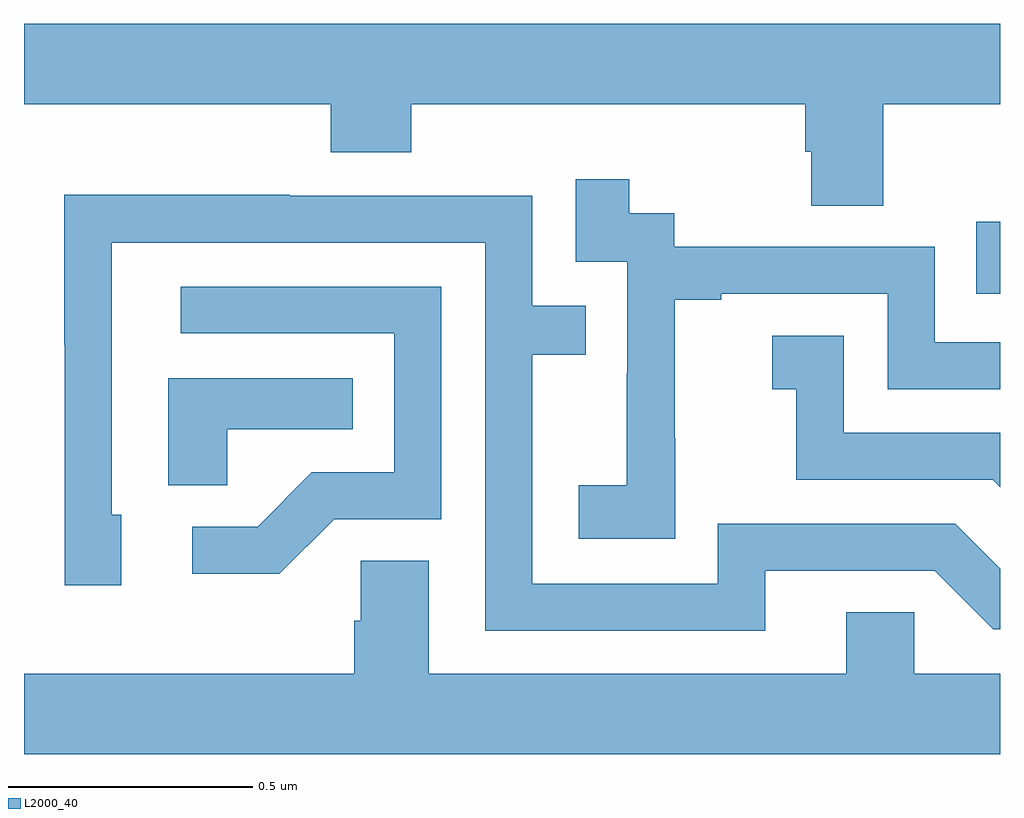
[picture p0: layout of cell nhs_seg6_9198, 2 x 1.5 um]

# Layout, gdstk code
import gdstk
lib = gdstk.Library(unit=1e-6, precision=1e-09)
def R(c, l, rs):  # rectangles x0, y0, x1, y1
    for r in rs: c.add(gdstk.rectangle(r[:2], r[2:], *l))
def P(c, l, *ps):  # polygons
    for p in ps: c.add(gdstk.Polygon(p, *l))
L2000_40 = (2000, 40)

nhs_seg6_9198 = lib.new_cell('nhs_seg6_9198')
R(nhs_seg6_9198, L2000_40, [(232.951,921.639,233,921.787)])
P(nhs_seg6_9198, L2000_40, [(231,922.028),(231.629,922.028),(231.629,921.929),(231.794,921.929),(231.794,922.028),(232.601,922.028),(232.601,921.93),(232.613,921.93),(232.613,921.82),(232.761,921.82),(232.761,922.028),(233,922.028),(233,922.192),(231,922.192)],
  [(232.335,921.343),(232.334,921.343),(232.334,921.627),(232.429,921.627),(232.429,921.639),(232.77,921.639),(232.77,921.444),(233,921.444),(233,921.54),(232.866,921.54),(232.866,921.735),(232.332,921.735),(232.332,921.804),(232.24,921.804),(232.24,921.874),(232.131,921.874),(232.131,921.705),(232.236,921.705),(232.236,921.476),(232.235,921.476),(232.235,921.247),(232.137,921.247),(232.137,921.137),(232.335,921.137)],
  [(232.519,921.072),(232.866,921.072),(232.986,920.952),(233,920.952),(233,921.076),(232.908,921.168),(232.422,921.168),(232.422,921.045),(232.041,921.045),(232.041,921.514),(232.151,921.514),(232.151,921.615),(232.041,921.615),(232.041,921.84),(231.545,921.84),(231.545,921.842),(231.082,921.842),(231.082,921.535),(231.084,921.535),(231.084,921.042),(231.199,921.042),(231.199,921.186),(231.18,921.186),(231.18,921.744),(231.945,921.744),(231.945,920.949),(232.519,920.949)],
  [(231.636,921.177),(231.855,921.177),(231.855,921.654),(231.321,921.654),(231.321,921.558),(231.759,921.558),(231.759,921.273),(231.59,921.273),(231.479,921.162),(231.345,921.162),(231.345,921.065),(231.523,921.065)],
  [(233,921.354),(232.68,921.354),(232.68,921.553),(232.533,921.553),(232.533,921.443),(232.582,921.443),(232.582,921.258),(232.985,921.258),(233,921.243)],
  [(231.417,921.362),(231.674,921.362),(231.674,921.466),(231.296,921.466),(231.296,921.247),(231.417,921.247)],
  [(233,920.86),(232.824,920.86),(232.824,920.987),(232.685,920.987),(232.685,920.86),(231.829,920.86),(231.829,921.092),(231.69,921.092),(231.69,920.969),(231.677,920.969),(231.677,920.86),(231,920.86),(231,920.696),(233,920.696)])

lib.write_gds('nhs_seg6_9198.gds')
